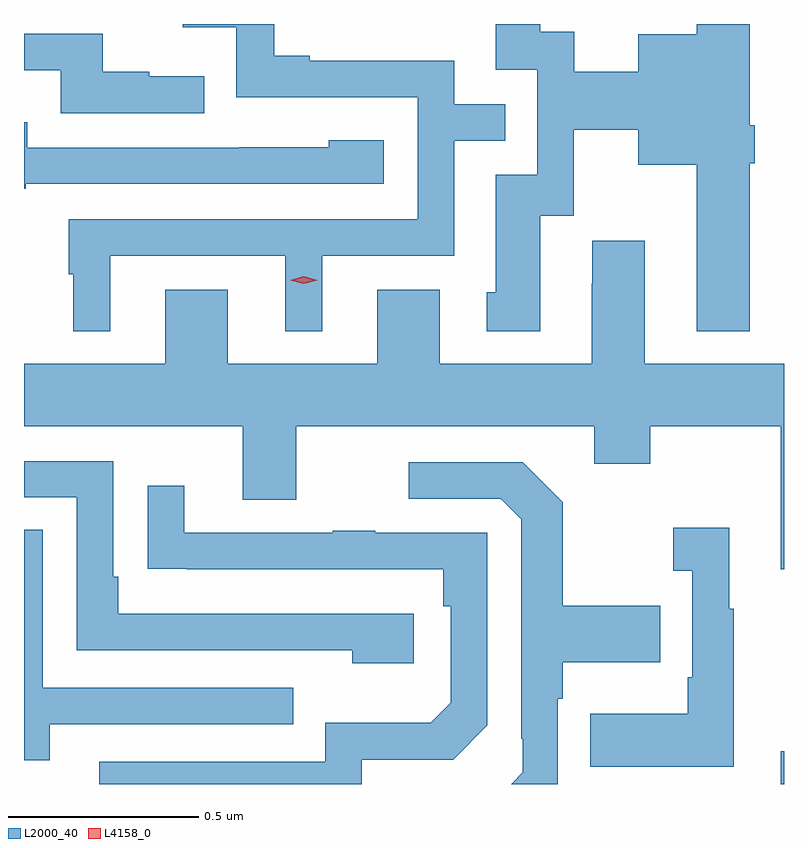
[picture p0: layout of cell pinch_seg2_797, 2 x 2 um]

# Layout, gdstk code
import gdstk
lib = gdstk.Library(unit=1e-6, precision=1e-09)
def R(c, l, rs):  # rectangles x0, y0, x1, y1
    for r in rs: c.add(gdstk.rectangle(r[:2], r[2:], *l))
def P(c, l, *ps):  # polygons
    for p in ps: c.add(gdstk.Polygon(p, *l))
L2000_40 = (2000, 40)
L4158_0 = (4158, 0)

pinch_seg2_797 = lib.new_cell('pinch_seg2_797')
R(pinch_seg2_797, L2000_40, [(735.149,628.046,735.157,628.132)])
P(pinch_seg2_797, L2000_40, [(733.384,629.436),(733.844,629.436),(733.844,629.237),(733.942,629.237),(733.942,629.436),(734.289,629.436),(734.289,629.739),(734.423,629.739),(734.423,629.835),(734.289,629.835),(734.289,629.949),(733.909,629.949),(733.909,629.962),(733.815,629.962),(733.815,630.046),(733.575,630.046),(733.575,630.038),(733.716,630.038),(733.716,629.853),(734.193,629.853),(734.193,629.532),(733.275,629.532),(733.275,629.388),(733.286,629.388),(733.286,629.237),(733.384,629.237)],
  [(735.067,629.679),(735.08,629.679),(735.08,629.779),(735.067,629.779),(735.067,630.046),(734.927,630.046),(734.927,630.019),(734.774,630.019),(734.774,629.92),(734.605,629.92),(734.605,630.026),(734.515,630.026),(734.515,630.046),(734.399,630.046),(734.399,629.925),(734.508,629.925),(734.508,629.649),(734.399,629.649),(734.399,629.34),(734.375,629.34),(734.375,629.238),(734.515,629.238),(734.515,629.541),(734.604,629.541),(734.604,629.768),(734.774,629.768),(734.774,629.675),(734.927,629.675),(734.927,629.237),(735.067,629.237)],
  [(733.631,629.908),(733.487,629.908),(733.487,629.92),(733.364,629.92),(733.364,630.021),(733.157,630.021),(733.157,629.924),(733.254,629.924),(733.254,629.811),(733.631,629.811)],
  [(733.161,629.625),(734.104,629.625),(734.104,629.74),(733.959,629.74),(733.959,629.722),(733.723,629.722),(733.723,629.721),(733.165,629.721),(733.165,629.788),(733.157,629.788),(733.157,629.613),(733.161,629.613)],
  [(735.157,629.152),(734.791,629.152),(734.791,629.476),(734.652,629.476),(734.652,629.363),(734.651,629.363),(734.651,629.152),(734.251,629.152),(734.251,629.347),(734.087,629.347),(734.087,629.152),(733.693,629.152),(733.693,629.347),(733.529,629.347),(733.529,629.152),(733.157,629.152),(733.157,628.988),(733.733,628.988),(733.733,628.794),(733.873,628.794),(733.873,628.988),(734.657,628.988),(734.657,628.889),(734.805,628.889),(734.805,628.988),(735.149,628.988),(735.149,628.611),(735.157,628.611)],
  [(734.182,628.494),(733.405,628.494),(733.405,628.591),(733.392,628.591),(733.392,628.896),(733.157,628.896),(733.157,628.8),(733.296,628.8),(733.296,628.398),(734.021,628.398),(734.021,628.364),(734.182,628.364)],
  [(734.562,628.271),(734.575,628.271),(734.575,628.367),(734.831,628.367),(734.831,628.515),(734.575,628.515),(734.575,628.787),(734.469,628.893),(734.169,628.893),(734.169,628.797),(734.412,628.797),(734.466,628.743),(734.466,628.165),(734.47,628.165),(734.47,628.077),(734.439,628.046),(734.562,628.046)],
  [(734.046,628.11),(734.286,628.11),(734.376,628.2),(734.376,628.707),(734.081,628.707),(734.081,628.712),(733.969,628.712),(733.969,628.707),(733.579,628.707),(733.579,628.831),(733.483,628.831),(733.483,628.612),(733.585,628.612),(733.585,628.611),(734.26,628.611),(734.26,628.514),(734.28,628.514),(734.28,628.26),(734.227,628.207),(733.95,628.207),(733.95,628.104),(733.355,628.104),(733.355,628.046),(734.046,628.046)],
  [(735.025,628.507),(735.013,628.507),(735.013,628.72),(734.865,628.72),(734.865,628.607),(734.916,628.607),(734.916,628.327),(734.904,628.327),(734.904,628.231),(734.647,628.231),(734.647,628.091),(735.025,628.091)],
  [(733.225,628.203),(733.865,628.203),(733.865,628.299),(733.206,628.299),(733.206,628.715),(733.157,628.715),(733.157,628.109),(733.225,628.109)])
P(pinch_seg2_797, L4158_0, [(733.893,629.362),(733.857,629.372),(733.857,629.372),(733.857,629.372),(733.893,629.382),(733.929,629.372),(733.929,629.372),(733.929,629.372)])

lib.write_gds('pinch_seg2_797.gds')
